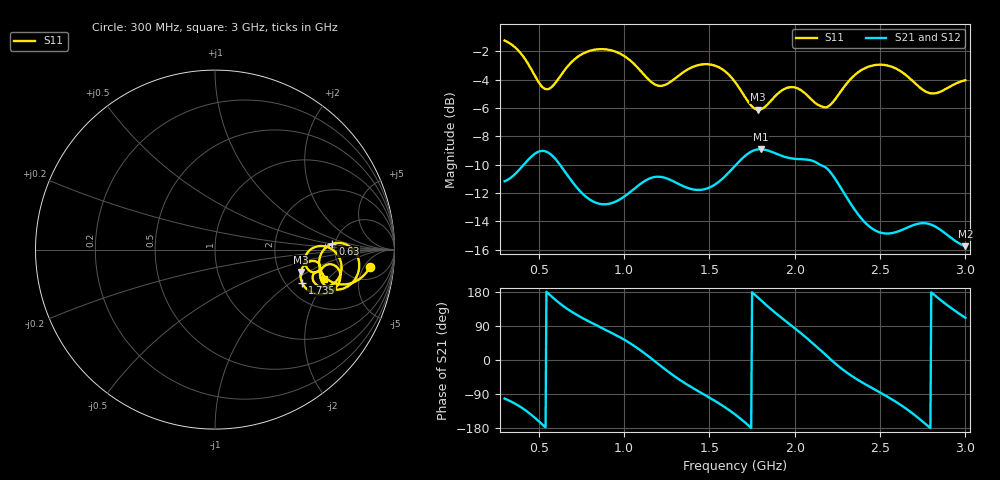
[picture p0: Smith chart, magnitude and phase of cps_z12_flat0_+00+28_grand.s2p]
! cps_z12_flat0_+00+28_grand
! simulated by sim/fixtures_fdtd.py (S12 = S21, S22 not computed)
# HZ S RI R 50
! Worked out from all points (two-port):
!   541 points, 300 MHz to 3 GHz, reference 50 ohm
!   highest |S21| = -8.91 dB at 1.8 GHz (marker M1); lowest = -15.8 dB at 3 GHz (marker M2)
!   |S21| within 3 dB of the highest: start of sweep to 744.9 MHz; 1.039 GHz to 2.284 GHz (1.245 GHz wide, 75 % of centre)
!   lowest |S11| = -6.1 dB at 1.785 GHz (marker M3), VSWR 2.95, Z = 131 - j43.1 ohm
!   |S11| at or under -10 dB: nowhere
!   |S22| runs from - to - dB; largest |S21 - S12| = 0
!   S11 on the Smith chart (normalised r, x): 300 MHz: 9, -7; 630 MHz: 4.73, +0.53; 1.735 GHz: 2.44, -1.24; 3 GHz: 3.32, -1.81
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3e8  0.8631 -0.0988  -0.0557 -0.2706  -0.0557 -0.2706  0 0
4.2e8  0.7209 -0.1942  -0.2142 -0.2378  -0.2142 -0.2378  0 0
5.15e8  0.5892 -0.1162  -0.3454 -0.0758  -0.3454 -0.0758  0 0
6.3e8  0.654 0.0319  -0.2625 0.17  -0.2625 0.17  0 0
7.5e8  0.7753 -0.0054  -0.0954 0.2333  -0.0954 0.2333  0 0
8.85e8  0.7995 -0.1219  0.0344 0.2265  0.0344 0.2265  0 0
1.03e9  0.7105 -0.2184  0.1757 0.1799  0.1757 0.1799  0 0
1.2e9  0.585 -0.1389  0.282 -0.0519  0.282 -0.0519  0 0
1.395e9  0.6885 -0.1094  0.0809 -0.2463  0.0809 -0.2463  0 0
1.52e9  0.6831 -0.1985  -0.0673 -0.2576  -0.0673 -0.2576  0 0
1.65e9  0.5686 -0.2473  -0.2517 -0.1864  -0.2517 -0.1864  0 0
1.735e9  0.4857 -0.1857  -0.3477 -0.029  -0.3477 -0.029  0 0
1.785e9  0.4783 -0.124  -0.345 0.0963  -0.345 0.0963  0 0
1.8e9  0.4838 -0.1072  -0.3331 0.1328  -0.3331 0.1328  0 0
1.945e9  0.5819 -0.0823  -0.078 0.3274  -0.078 0.3274  0 0
2.1e9  0.5232 -0.1157  0.2264 0.2359  0.2264 0.2359  0 0
2.195e9  0.5062 -0.0324  0.3013 0.0415  0.3013 0.0415  0 0
2.3e9  0.6067 0.0189  0.2088 -0.1278  0.2088 -0.1278  0 0
2.425e9  0.697 -0.0551  0.0759 -0.1786  0.0759 -0.1786  0 0
2.55e9  0.6889 -0.1587  -0.0271 -0.1786  -0.0271 -0.1786  0 0
2.78e9  0.5444 -0.1642  -0.1947 -0.0206  -0.1947 -0.0206  0 0
3e9  0.6061 -0.1652  -0.0594 0.1518  -0.0594 0.1518  0 0
